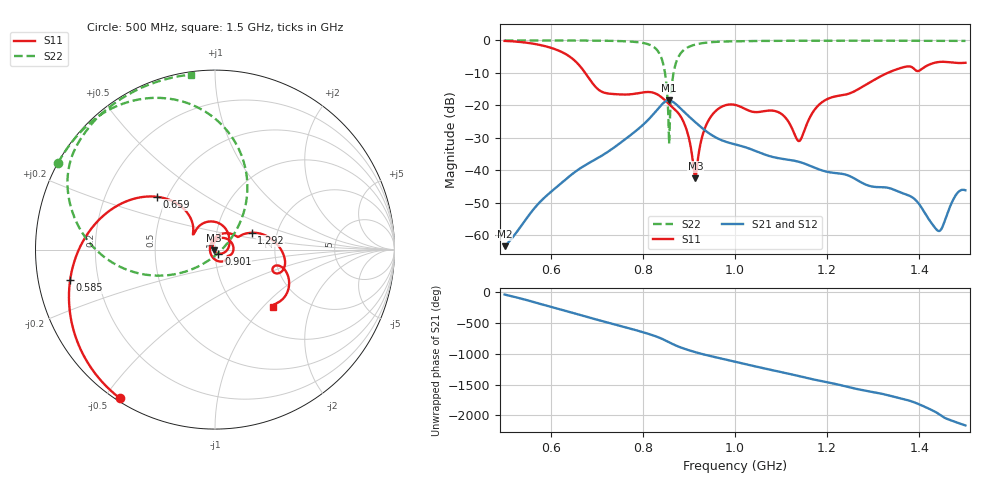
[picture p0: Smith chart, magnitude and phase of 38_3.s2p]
! TOUCHSTONE file generated by CST MICROWAVE STUDIO
! Date and time: Fri Oct  2 16:34:46 2020
! Project name: Scenario_1_Free_Space_out_of_line.cst
! Parameters = {Lambda=346.42; Step_1=17.321; dy1=-293.977; dx1=520; L_HA=400; MT=2.54; Rad_Dielectric=30; Rad_Lower=7.3; Rad_Upper=30; a_HA=580; a_WG=246; b_HA=500; b_WG=121; c_HA=0; c_WG=187; d_feed=85; h_feed=15; h_lower=18; h_upper=40}
! Header version: 2018
! Port assignment regex: !\s*Touchstone port\s*([0-9]+)\s*=\s*(CST MWS port|CST DS port)\s*([0-9]+|Zmin|Zmax)\s*\(\"(.*)\"\)(\s*mode\s*([0-9]+))?.*
! Touchstone port assignment:
! Touchstone port 1 = CST MWS port 1 ("")
! Touchstone port 2 = CST MWS port 2 ("")
# GHz S DB R 50
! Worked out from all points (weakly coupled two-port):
!   1003 points, 500 MHz to 1.5 GHz, reference 50 ohm
!   highest |S21| = -18.49 dB at 856 MHz (marker M1); lowest = -63.3 dB at 500 MHz (marker M2)
!   lowest |S11| = -42.4 dB at 914 MHz (marker M3), VSWR 1.02, Z = 49.3 - j0.337 ohm
!   |S11| at or under -10 dB: 675 MHz to 1.331 GHz (656.1 MHz wide, 65.4 % of centre)
!   |S22| runs from -31.8 to 0.0 dB; largest |S21 - S12| = 3.8e-05
!   S11 on the Smith chart (normalised r, x): 500 MHz: 0.01, -0.55; 585 MHz: 0.10, -0.10; 659 MHz: 0.44, +0.32; 901 MHz: 1.04, -0.05; 1.292 GHz: 1.48, +0.29; 1.5 GHz: 1.41, -1.14
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0.5  -0.15 -122.7  -63.33 -39.6  -63.33 -39.6  -0.01 151.1
0.585  -1.67 -168.0  -48.58 152.6  -48.56 152.6  -0.02 145.2
0.659  -7.18 137.7  -39.85 -0.7  -39.85 -0.6  -0.04 139.1
0.667  -8.50 132.5  -39.10 -17.9  -39.10 -17.9  -0.05 138.3
0.71  -15.72 137.7  -35.56 -105.9  -35.56 -105.9  -0.08 133.5
0.779  -16.49 137.5  -28.52 115.4  -28.52 115.4  -0.41 120.5
0.834  -16.82 76.5  -20.83 -13.7  -20.83 -13.7  -3.57 83.9
0.846  -18.15 57.4  -19.09 -53.0  -19.09 -53.0  -8.36 61.8
0.856  -19.51 42.5  -18.49 -90.2  -18.49 -90.2  -26.71 10.6
0.873  -21.75 15.9  -19.75 -150.1  -19.75 -150.1  -6.46 -165.0
0.901  -30.69 -48.2  -23.52 135.1  -23.52 135.1  -1.90 167.1
0.914  -42.39 -153.3  -25.18 106.0  -25.18 106.0  -1.27 160.5
0.944  -24.25 76.1  -28.63 47.9  -28.63 47.9  -0.59 150.5
1  -19.84 -4.0  -32.00 -46.4  -32.00 -46.4  -0.26 140.1
1.097  -22.29 -60.0  -36.32 149.8  -36.32 149.8  -0.12 129.9
1.138  -30.96 -172.5  -37.33 79.5  -37.33 79.5  -0.11 126.5
1.167  -22.55 82.8  -38.83 29.2  -38.83 29.2  -0.10 124.2
1.292  -12.99 24.8  -44.79 -170.0  -44.79 -170.0  -0.08 114.6
1.334  -9.82 10.1  -45.43 124.0  -45.42 124.0  -0.09 111.4
1.389  -8.79 -21.3  -48.74 12.6  -48.73 12.6  -0.10 107.2
1.442  -6.64 -28.9  -58.67 -175.7  -58.62 -174.6  -0.11 102.9
1.5  -6.87 -44.9  -46.12 -2.2  -46.13 -2.2  -0.14 97.9
